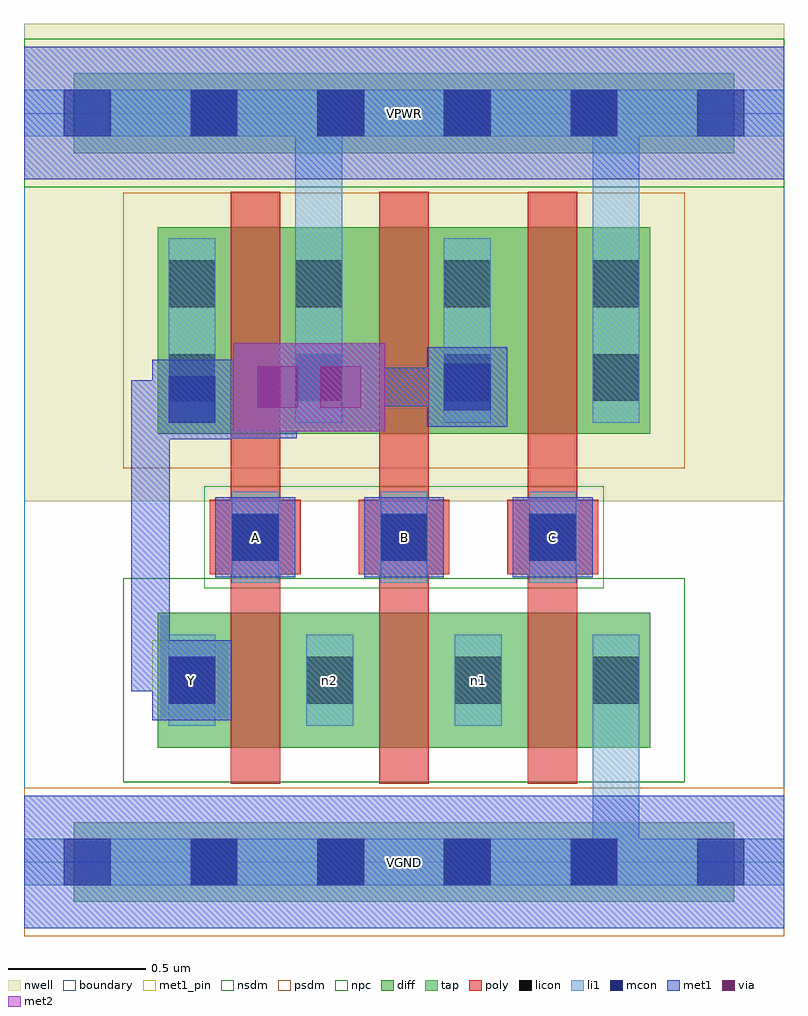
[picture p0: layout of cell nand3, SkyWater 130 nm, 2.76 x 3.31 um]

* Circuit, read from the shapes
.subckt nand3 A B C VGND VPWR Y n1 n2
XM1 n2 A Y VGND sky130_fd_pr__nfet_01v8 w=0.49 l=0.18
XM2 n1 B n2 VGND sky130_fd_pr__nfet_01v8 w=0.49 l=0.18
XM3 VGND C n1 VGND sky130_fd_pr__nfet_01v8 w=0.49 l=0.18
XM4 VPWR A Y VPWR sky130_fd_pr__pfet_01v8 w=0.75 l=0.18
XM5 Y B VPWR VPWR sky130_fd_pr__pfet_01v8 w=0.75 l=0.18
XM6 VPWR C Y VPWR sky130_fd_pr__pfet_01v8 w=0.75 l=0.18
.ends

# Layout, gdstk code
import gdstk
lib = gdstk.Library(unit=1e-6, precision=1e-09)
def R(c, l, rs):  # rectangles x0, y0, x1, y1
    for r in rs: c.add(gdstk.rectangle(r[:2], r[2:], *l))
def A(c, l, x, y, w, h, nx, ny, dx, dy):  # array of equal rectangles
    R(c, l, [(x+i*dx, y+j*dy, x+i*dx+w, y+j*dy+h) for i in range(nx) for j in range(ny)])
nwell = (64, 20)
diff = (65, 20)
tap = (65, 44)
poly = (66, 20)
licon = (66, 44)
li1 = (67, 20)
mcon = (67, 44)
met1_pin = (68, 16)
met1 = (68, 20)
via = (68, 44)
met2 = (69, 20)
nsdm = (93, 44)
psdm = (94, 20)
npc = (95, 20)
boundary = (235, 4)

nand3 = lib.new_cell('nand3')
R(nand3, nwell, [(0,1.31,2.76,3.045)])
R(nand3, diff, [(0.485,0.415,2.275,0.905), (0.485,1.555,2.275,2.305)])
R(nand3, tap, [(0.18,-0.145,2.58,0.145), (0.18,2.575,2.58,2.865)])
A(nand3, poly, 0.75, 0.285, 0.18, 2.15, 3, 1, 0.54, 0)
A(nand3, poly, 0.675, 1.045, 0.33, 0.27, 3, 1, 0.54, 0)
A(nand3, licon, 0.605, -0.085, 0.17, 0.17, 4, 2, 0.46, 2.72)
A(nand3, licon, 0.755, 1.095, 0.17, 0.17, 3, 1, 0.54, 0)
A(nand3, licon, 0.985, 1.675, 0.17, 0.17, 3, 2, 0.54, 0.34)
R(nand3, licon, [(0.525,0.575,0.695,0.745), (1.025,0.575,1.195,0.745), (1.565,0.575,1.735,0.745), (2.065,0.575,2.235,0.745), (0.525,1.675,0.695,1.845), (0.525,2.015,0.695,2.185)])
A(nand3, li1, 0.755, 1.015, 0.17, 0.33, 3, 1, 0.54, 0)
A(nand3, li1, 0.985, 1.595, 0.17, 0.67, 3, 1, 0.54, 0)
R(nand3, li1, [(0,-0.085,2.76,0.085), (2.065,-0.085,2.235,0.825), (0.525,0.495,0.695,0.825), (1.025,0.495,1.195,0.825), (1.565,0.495,1.735,0.825), (2.065,0.495,2.235,0.825), (0.525,1.595,0.695,2.265), (0.985,1.595,1.155,2.805), (2.065,1.595,2.235,2.805), (0,2.635,2.76,2.805)])
A(nand3, mcon, 0.145, -0.085, 0.17, 0.17, 6, 2, 0.46, 2.72)
A(nand3, mcon, 0.755, 1.095, 0.17, 0.17, 3, 1, 0.54, 0)
R(nand3, mcon, [(0.525,0.575,0.695,0.745), (0.525,1.595,0.695,1.765), (1.525,1.64,1.695,1.81)])
A(nand3, met1_pin, 0.695, 1.035, 0.29, 0.29, 3, 1, 0.54, 0)
R(nand3, met1_pin, [(0,-0.24,2.76,0.24), (0.465,0.515,0.755,0.805), (0,2.48,2.76,2.96)])
A(nand3, met1, 0.695, 1.035, 0.29, 0.29, 3, 1, 0.54, 0)
R(nand3, met1, [(0,-0.24,2.76,0.24), (0.465,0.515,0.755,0.805), (0.39,0.62,0.645,0.76), (0.39,0.62,0.53,1.565), (0.505,0.62,0.645,0.76), (0.39,1.425,0.53,1.75), (0.39,1.425,0.53,1.68), (0.465,1.535,0.755,1.825), (0.39,1.54,0.99,1.68), (0.755,1.54,0.85,1.795), (0.85,1.54,0.99,1.795), (0.755,1.565,0.76,1.825), (0.76,1.565,1.08,1.885), (0.99,1.565,1.31,1.885), (1.465,1.58,1.755,1.87), (0.39,1.61,0.68,1.75), (0.68,1.61,0.76,1.75), (1.08,1.655,1.68,1.795), (0,2.48,2.76,2.96)])
R(nand3, via, [(0.845,1.65,0.995,1.8), (1.075,1.65,1.225,1.8)])
R(nand3, met2, [(0.76,1.565,1.08,1.885), (0.99,1.565,1.31,1.885), (0.85,1.655,1.22,1.795)])
R(nand3, nsdm, [(0.36,0.29,2.4,1.03), (0,2.45,2.76,2.99)])
R(nand3, psdm, [(0,-0.27,2.76,0.27), (0.36,1.43,2.4,2.43)])
R(nand3, npc, [(0.655,0.995,2.105,1.365)])
R(nand3, boundary, [(0,0,2.76,2.72)])
nand3.add(gdstk.Label('n2', (1.11,0.66), layer=67, texttype=5))
nand3.add(gdstk.Label('n1', (1.65,0.66), layer=67, texttype=5))
nand3.add(gdstk.Label('A', (0.84,1.18), layer=68, texttype=5))
nand3.add(gdstk.Label('B', (1.38,1.18), layer=68, texttype=5))
nand3.add(gdstk.Label('C', (1.92,1.18), layer=68, texttype=5))
nand3.add(gdstk.Label('Y', (0.61,0.66), layer=68, texttype=5))
nand3.add(gdstk.Label('VPWR', (1.38,2.72), layer=68, texttype=5))
nand3.add(gdstk.Label('VGND', (1.38,0), layer=68, texttype=5))
nand3.add(gdstk.Label('A', (0.84,1.18), layer=68, texttype=16))
nand3.add(gdstk.Label('B', (1.38,1.18), layer=68, texttype=16))
nand3.add(gdstk.Label('C', (1.92,1.18), layer=68, texttype=16))
nand3.add(gdstk.Label('Y', (0.61,0.66), layer=68, texttype=16))
nand3.add(gdstk.Label('VPWR', (1.38,2.72), layer=68, texttype=16))
nand3.add(gdstk.Label('VGND', (1.38,0), layer=68, texttype=16))

lib.write_gds('nand3.gds')
